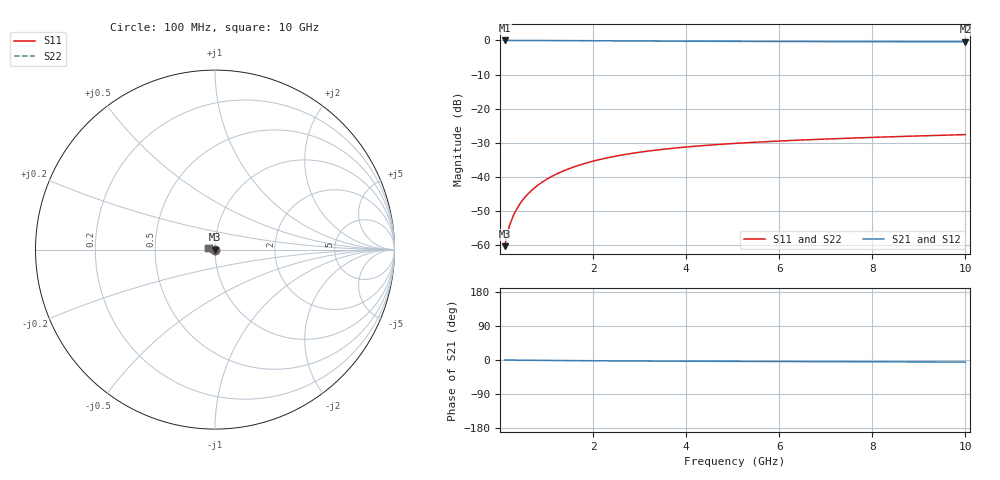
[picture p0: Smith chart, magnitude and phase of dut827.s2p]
! Touchstone file exported from HFSS 2024.1.0
!  File:  C:/UserFiles/LocalFiles/RDL_TSV_Batchsim/temp_TSV1_827_1779878857.aedt
!  Generated:  06:54:15 PM May 27, 2026
!  Design:  TSV1
!  Project:  temp_TSV1_827_1779878857
!  Setup:  Setup1
!  Solution:  Sweep
! Variables:
!  dtsv = 7.71um
!  hbump = 3um
!  htsv = 83.68um
!  lrdl = 252.1521522um
!  p = 40
!  p1 = 47.05um
!  t = 500um
!  trdl = 3um
!  wrdl = 24.89489489um
# GHz S MA R 50.000000
! Terminal data exported
! Port[1] = TSV22_T1
! Port[2] = TSV22_T2
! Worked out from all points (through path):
!   100 points, 100 MHz to 10 GHz, reference 50 ohm
!   highest |S21| = 0.00 dB at 100 MHz (marker M1); lowest = -0.4 dB at 10 GHz (marker M2)
!   lowest |S11| = -60.2 dB at 100 MHz (marker M3), VSWR 1.00, Z = 50 - j0.0947 ohm
!   |S11| at or under -10 dB: start of sweep to end of sweep
!   |S22| runs from -60.2 to -27.6 dB; largest |S21 - S12| = 5.1e-15
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0.1  0.0009719 -76.9  0.9997 -0.1  0.9997 -0.1  0.0009719 -76.9
! Gamma 0 0 0 0
! Port Impedance 50 0 50 0
0.2  0.001909 -85.9  0.9996 -0.2  0.9996 -0.2  0.001909 -85.9
0.3  0.002851 -90.3  0.9994 -0.3  0.9994 -0.3  0.002851 -90.3
0.4  0.00379 -93.4  0.9992 -0.5  0.9992 -0.5  0.00379 -93.4
0.5  0.004723 -96.0  0.9989 -0.6  0.9989 -0.6  0.004723 -96.0
0.6  0.005648 -98.3  0.9986 -0.7  0.9986 -0.7  0.005648 -98.3
0.7  0.006563 -100.5  0.9982 -0.8  0.9982 -0.8  0.006563 -100.5
0.8  0.007467 -102.6  0.9978 -0.9  0.9978 -0.9  0.007467 -102.6
0.9  0.008358 -104.6  0.9973 -1.0  0.9973 -1.0  0.008358 -104.6
1.1  0.0101 -108.4  0.9962 -1.2  0.9962 -1.2  0.0101 -108.4
1.4  0.01259 -113.8  0.9943 -1.5  0.9943 -1.5  0.01259 -113.8
1.6  0.01416 -117.2  0.9929 -1.7  0.9929 -1.7  0.01416 -117.2
1.8  0.01565 -120.5  0.9914 -1.8  0.9914 -1.8  0.01565 -120.5
2.1  0.01775 -125.2  0.9891 -2.1  0.9891 -2.1  0.01775 -125.2
2.5  0.02029 -131.1  0.986 -2.4  0.986 -2.4  0.02029 -131.1
2.9  0.02254 -136.6  0.9829 -2.6  0.9829 -2.6  0.02254 -136.6
3.4  0.02501 -142.9  0.9793 -2.9  0.9793 -2.9  0.02501 -142.9
4.2  0.02827 -151.9  0.9741 -3.3  0.9741 -3.3  0.02827 -151.9
5.1  0.03122 -160.5  0.9694 -3.6  0.9694 -3.6  0.03122 -160.5
6.7  0.0353 -173.3  0.9633 -4.2  0.9633 -4.2  0.03531 -173.3
8.4  0.03882 175.8  0.9589 -4.8  0.9589 -4.8  0.03882 175.8
10  0.04182 167.2  0.956 -5.4  0.956 -5.4  0.04182 167.2
